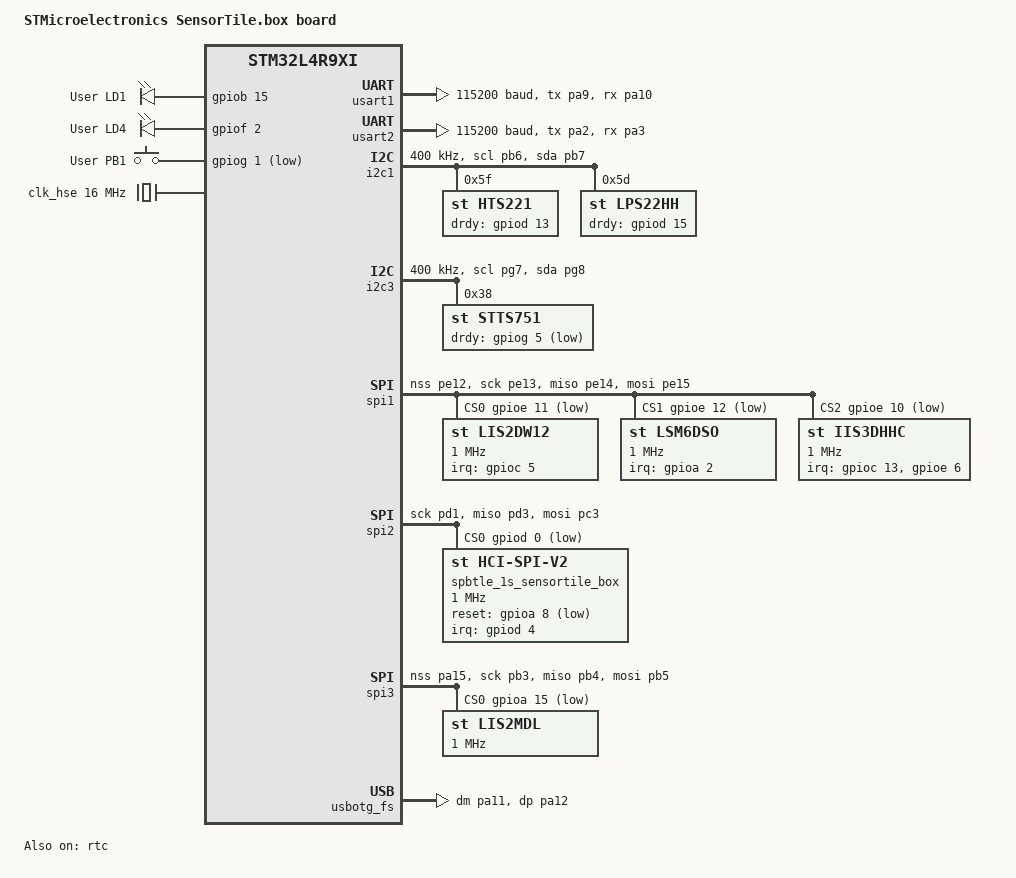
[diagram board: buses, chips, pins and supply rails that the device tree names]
/*
 * Copyright (c) 2019 STMicroelectronics
 *
 * SPDX-License-Identifier: Apache-2.0
 */

/dts-v1/;
#include <st/l4/stm32l4r9Xi.dtsi>
#include <st/l4/stm32l4r9z(g-i)tx-pinctrl.dtsi>
#include <zephyr/dt-bindings/input/input-event-codes.h>

/ {
	model = "STMicroelectronics SensorTile.box board";
	compatible = "st,sensortile-box";

	chosen {
		zephyr,console = &usart1;
		zephyr,shell-uart = &usart1;
		zephyr,sram = &sram0;
		zephyr,flash = &flash0;
		zephyr,bt-c2h-uart = &usart1;
		zephyr,bt-hci = &spbtle_1s_sensortile_box;
	};

	leds {
		compatible = "gpio-leds";
		blue_led: led {
			gpios = <&gpiob 15 GPIO_ACTIVE_HIGH>;
			label = "User LD1";
		};

		green_led: led_2 {
			gpios = <&gpiof 2 GPIO_ACTIVE_HIGH>;
			label = "User LD4";
		};
	};

	gpio_keys {
		compatible = "gpio-keys";
		user_button: button {
			label = "User PB1";
			gpios = <&gpiog 1 GPIO_ACTIVE_LOW>;
			zephyr,code = <INPUT_KEY_0>;
		};
	};

	aliases {
		led0 = &blue_led;
		led1 = &green_led;
		sw0 = &user_button;
		magn0 = &lis2mdl;
		accel0 = &lis2dw12;
		accel1 = &lsm6dso;
		accel2 = &iis3dhhc;
	};
};

&clk_lsi {
	status = "okay";
};

&clk_hsi48 {
	status = "okay";
};

&clk_hse {
	clock-frequency = <DT_FREQ_M(16)>;
	status = "okay";
};

&pll {
	div-m = <4>;
	mul-n = <40>;
	div-p = <7>;
	div-q = <2>;
	div-r = <2>;
	clocks = <&clk_hse>;
	status = "okay";
};

&rcc {
	clocks = <&pll>;
	clock-frequency = <DT_FREQ_M(80)>;
	ahb-prescaler = <1>;
	apb1-prescaler = <1>;
	apb2-prescaler = <1>;
};

&usart1 {
	pinctrl-0 = <&usart1_tx_pa9 &usart1_rx_pa10>;
	pinctrl-names = "default";
	current-speed = <115200>;
	status = "okay";
};

&usart2 {
	pinctrl-0 = <&usart2_tx_pa2 &usart2_rx_pa3>;
	pinctrl-names = "default";
	current-speed = <115200>;
	status = "okay";
};

&i2c1 {
	pinctrl-0 = <&i2c1_scl_pb6 &i2c1_sda_pb7>;
	pinctrl-names = "default";
	status = "okay";
	clock-frequency = <I2C_BITRATE_FAST>;

	hts221@5f {
		compatible = "st,hts221";
		reg = <0x5f>;
		drdy-gpios = <&gpiod 13 GPIO_ACTIVE_HIGH>;
	};

	lps22hh@5d {
		compatible = "st,lps22hh";
		reg = <0x5d>;
		drdy-gpios = <&gpiod 15 GPIO_ACTIVE_HIGH>;
	};
};

&i2c3 {
	pinctrl-0 = <&i2c3_scl_pg7 &i2c3_sda_pg8>;
	pinctrl-names = "default";
	status = "okay";
	clock-frequency = <I2C_BITRATE_FAST>;

	stts751@38 {
		compatible = "st,stts751";
		reg = <0x38>;
		drdy-gpios = <&gpiog 5 GPIO_ACTIVE_LOW>;
	};
};

&spi1 {
	pinctrl-0 = <&spi1_nss_pe12 &spi1_sck_pe13
		     &spi1_miso_pe14 &spi1_mosi_pe15>;
	pinctrl-names = "default";
	status = "okay";

	cs-gpios = <&gpioe 11 GPIO_ACTIVE_LOW>, <&gpioe 12 GPIO_ACTIVE_LOW>, <&gpioe 10 GPIO_ACTIVE_LOW>;

	lis2dw12: lis2dw12@0 {
		compatible = "st,lis2dw12";
		spi-max-frequency = <1000000>;
		reg = <0>;
		irq-gpios = <&gpioc 5 GPIO_ACTIVE_HIGH>;
	};

	lsm6dso: lsm6dso@1 {
		compatible = "st,lsm6dso";
		spi-max-frequency = <1000000>;
		reg = <1>;
		irq-gpios = <&gpioa 2 GPIO_ACTIVE_HIGH>;
		int-pin = <1>;
	};

	iis3dhhc: iis3dhhc@2 {
		compatible = "st,iis3dhhc";
		spi-max-frequency = <1000000>;
		reg = <2>;
		irq-gpios = <&gpioc 13 GPIO_ACTIVE_HIGH>, <&gpioe 6 GPIO_ACTIVE_HIGH>;
	};
};

&spi2 {
	pinctrl-0 = <&spi2_sck_pd1 &spi2_miso_pd3 &spi2_mosi_pc3>;
	pinctrl-names = "default";
	status = "okay";
	cs-gpios = <&gpiod 0 GPIO_ACTIVE_LOW>;
	spbtle_1s_sensortile_box: spbtle-1s@0 {
		compatible = "st,hci-spi-v2";
		reg = <0>;
		reset-gpios = <&gpioa 8 GPIO_ACTIVE_LOW>;
		irq-gpios = <&gpiod 4 (GPIO_ACTIVE_HIGH | GPIO_PULL_DOWN)>;
		spi-max-frequency = <DT_FREQ_M(1)>;
		spi-cpha;
		spi-hold-cs;
		reset-assert-duration-ms = <6>;
	};
};

&spi3 {
	pinctrl-0 = <&spi3_nss_pa15 &spi3_sck_pb3
		     &spi3_miso_pb4 &spi3_mosi_pb5>;
	pinctrl-names = "default";
	status = "okay";

	cs-gpios = <&gpioa 15 GPIO_ACTIVE_LOW>;

	lis2mdl: lis2mdl@0 {
		compatible = "st,lis2mdl";
		spi-max-frequency = <1000000>;
		reg = <0>;
	};
};

zephyr_udc0: &usbotg_fs {
	pinctrl-0 = <&usb_otg_fs_dm_pa11 &usb_otg_fs_dp_pa12>;
	pinctrl-names = "default";
	status = "okay";
};

&rtc {
	clocks = <&rcc STM32_CLOCK_BUS_APB1 0x10000000>,
		 <&rcc STM32_SRC_LSI RTC_SEL(2)>;
	status = "okay";
};

&flash0 {

	partitions {
		compatible = "fixed-partitions";
		#address-cells = <1>;
		#size-cells = <1>;

		boot_partition: partition@0 {
			label = "mcuboot";
			reg = <0x00000000 DT_SIZE_K(64)>;
			read-only;
		};

		/*
		 * The flash starting at offset 0x10000 and ending at
		 * offset 0x1ffff is reserved for use by the application.
		 */

		slot0_partition: partition@20000 {
			label = "image-0";
			reg = <0x00020000 DT_SIZE_K(432)>;
		};
		slot1_partition: partition@8c000 {
			label = "image-1";
			reg = <0x0008C000 DT_SIZE_K(432)>;
		};
		scratch_partition: partition@f8000 {
			label = "image-scratch";
			reg = <0x000F8000 DT_SIZE_K(24)>;
		};

		storage_partition: partition@fc000 {
			label = "storage";
			reg = <0x000fc000 DT_SIZE_K(24)>;
		};
	};
};
